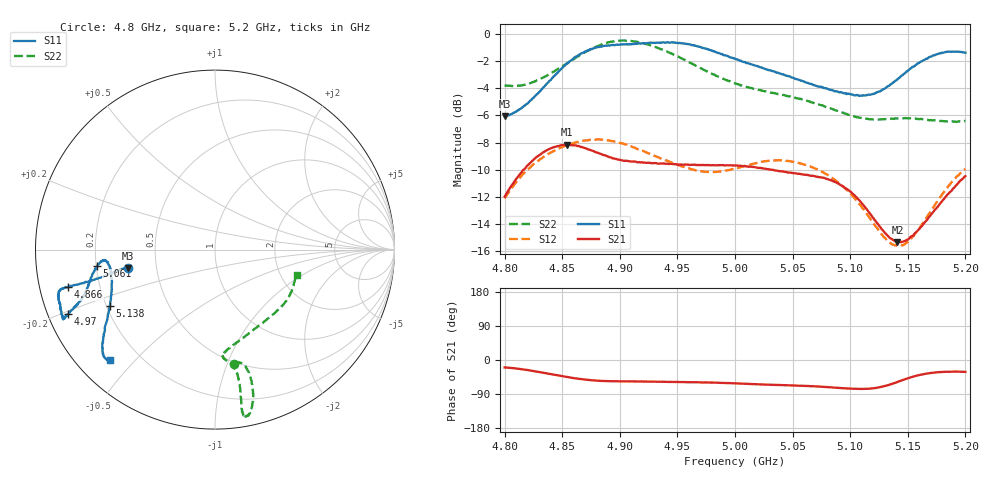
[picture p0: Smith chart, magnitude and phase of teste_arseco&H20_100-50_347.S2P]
! Network Analyzer HP8722D
! Hewlett-Packard
! Data name: Linha & Wilkinson
! Saver's name: Rodrigo Anjos
! Comments: Teste da utilização de aquisição
! continua pelo VNA HP8722D
! Time and date: 6/5/2025 15:27
!  Frequency  S11  S21  S12  S22
# HZ  S  MA R 50
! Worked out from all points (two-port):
!   401 points, 4.8 GHz to 5.2 GHz, reference 50 ohm
!   highest |S21| = -8.16 dB at 4.854 GHz (marker M1); lowest = -15.3 dB at 5.141 GHz (marker M2)
!   |S21| within 3 dB of the highest: 4.806 GHz to 5.092 GHz (286.3 MHz wide, 5.78 % of centre); 5.191838 GHz to end of sweep
!   lowest |S11| = -6.1 dB at 4.8 GHz (marker M3), VSWR 2.97, Z = 17 - j4.61 ohm
!   |S11| at or under -10 dB: nowhere
!   |S22| runs from -6.5 to -0.5 dB; largest |S21 - S12| = 0.62
!   S11 on the Smith chart (normalised r, x): 4.8 GHz: 0.34, -0.09; 4.866 GHz: 0.09, -0.12; 4.97 GHz: 0.06, -0.21; 5.061 GHz: 0.20, -0.07; 5.138 GHz: 0.21, -0.24; 5.2 GHz: 0.09, -0.43
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4.8e9  0.4967 -168.1  0.2517 -19.7  0.248 -140.8  0.6466 -80.3
4.826e9  0.5881 -167.2  0.347 -29.6  0.3331 -144.4  0.6679 -75.6
4.854e9  0.7765 -165.8  0.3908 -44.9  0.3896 -149.8  0.7792 -74.6
4.866e9  0.8448 -165.8  0.3835 -50.3  0.4026 -151.7  0.8369 -75.2
4.867e9  0.8485 -165.7  0.3836 -50.8  0.4032 -151.9  0.8429 -75.4
4.881e9  0.8933 -165.4  0.3652 -54.5  0.4089 -154.3  0.903 -76.9
4.899e9  0.9132 -162.8  0.3446 -56.3  0.3978 -156.6  0.9442 -79.1
4.934e9  0.9276 -156.4  0.3329 -57.4  0.3511 -155.6  0.8838 -80.5
4.97e9  0.8941 -156.2  0.3294 -59.1  0.3123 -146.9  0.7483 -79.6
5e9  0.8102 -158.9  0.3277 -61.7  0.3199 -137.1  0.6576 -81.2
5.036e9  0.7197 -165.6  0.3138 -65.9  0.3425 -134.3  0.6026 -85.6
5.061e9  0.6639 -171.9  0.3032 -68.3  0.3295 -136.2  0.5699 -83.9
5.067e9  0.6524 -173.0  0.3007 -69.0  0.3231 -136.7  0.5588 -82.7
5.087e9  0.6152 -174.4  0.2852 -73.0  0.2893 -138.4  0.5234 -74.8
5.102e9  0.598 -171.6  0.2582 -75.9  0.2538 -138.6  0.4983 -66.0
5.116e9  0.5976 -165.5  0.2212 -75.8  0.213 -135.5  0.4854 -55.8
5.134e9  0.6453 -154.2  0.1781 -65.3  0.1708 -120.9  0.4867 -43.4
5.138e9  0.665 -151.8  0.1736 -61.3  0.1672 -115.6  0.4861 -40.8
5.141e9  0.6813 -150.0  0.1712 -57.8  0.1659 -111.7  0.4886 -39.2
5.153e9  0.7484 -144.9  0.1799 -45.3  0.1763 -96.2  0.4883 -32.8
5.174e9  0.8373 -138.4  0.2263 -32.9  0.2363 -80.3  0.4793 -23.8
5.2e9  0.8522 -133.5  0.2996 -31.3  0.3185 -76.8  0.4774 -17.5
